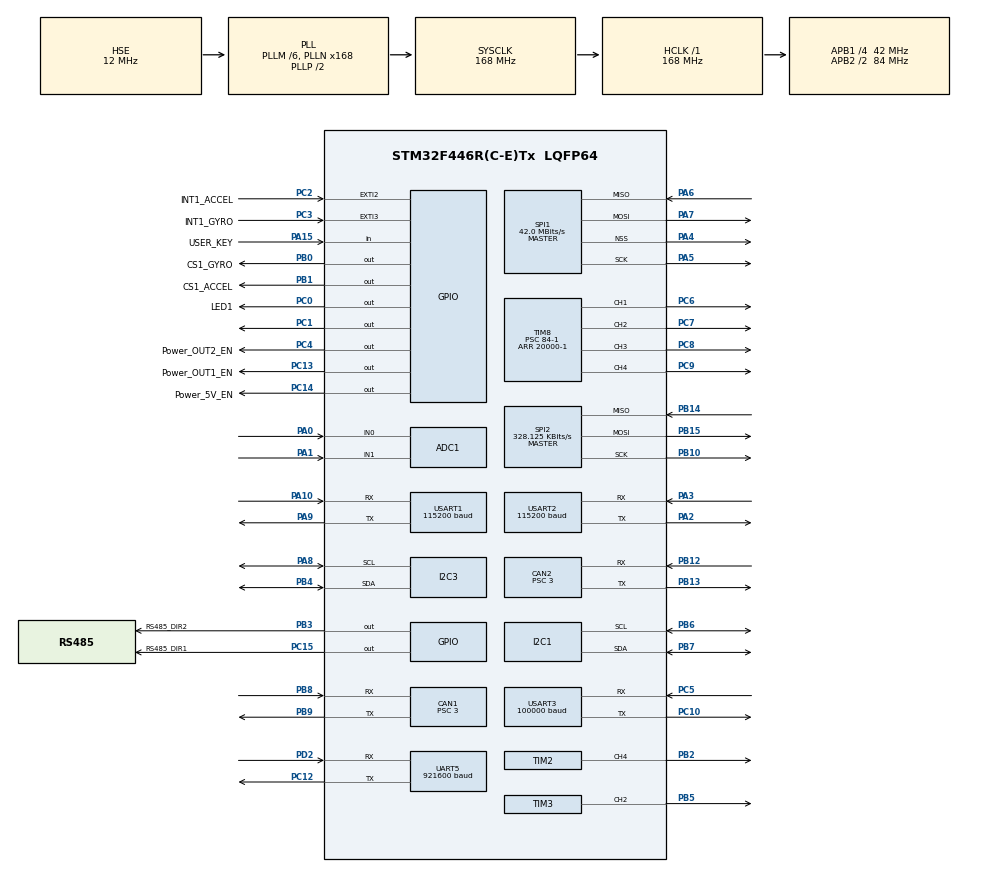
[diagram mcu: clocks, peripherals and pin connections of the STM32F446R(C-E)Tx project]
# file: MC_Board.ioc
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ADC1.Channel-0\#ChannelRegularConversion=ADC_CHANNEL_0
ADC1.NbrOfConversionFlag=1
ADC1.Rank-0\#ChannelRegularConversion=1
ADC1.SamplingTime-0\#ChannelRegularConversion=ADC_SAMPLETIME_3CYCLES
ADC1.master=1
CAN1.ABOM=ENABLE
CAN1.BS1=CAN_BS1_10TQ
CAN1.BS2=CAN_BS2_3TQ
CAN1.CalculateBaudRate=1000000
CAN1.CalculateTimeBit=1000
CAN1.CalculateTimeQuantum=71.42857142857143
CAN1.NART=ENABLE
CAN1.Prescaler=3
CAN1.SJW=CAN_SJW_1TQ
CAN2.BS1=CAN_BS1_10TQ
CAN2.BS2=CAN_BS2_3TQ
CAN2.CalculateBaudRate=1000000
CAN2.CalculateTimeBit=1000
CAN2.CalculateTimeQuantum=71.42857142857143
CAN2.Prescaler=3
CAN2.SJW=CAN_SJW_2TQ
Dma.Request0=USART2_TX
Dma.Request1=USART2_RX
Dma.Request2=SPI2_RX
Dma.Request3=SPI2_TX
Dma.SPI2_RX.2.Direction=DMA_PERIPH_TO_MEMORY
Dma.SPI2_RX.2.FIFOMode=DMA_FIFOMODE_DISABLE
Dma.SPI2_RX.2.Instance=DMA1_Stream3
Dma.SPI2_RX.2.MemDataAlignment=DMA_MDATAALIGN_BYTE
Dma.SPI2_RX.2.MemInc=DMA_MINC_ENABLE
Dma.SPI2_RX.2.Mode=DMA_NORMAL
Dma.SPI2_RX.2.PeriphDataAlignment=DMA_PDATAALIGN_BYTE
Dma.SPI2_RX.2.PeriphInc=DMA_PINC_DISABLE
Dma.SPI2_RX.2.Priority=DMA_PRIORITY_VERY_HIGH
Dma.SPI2_TX.3.Direction=DMA_MEMORY_TO_PERIPH
Dma.SPI2_TX.3.FIFOMode=DMA_FIFOMODE_DISABLE
Dma.SPI2_TX.3.Instance=DMA1_Stream4
Dma.SPI2_TX.3.MemDataAlignment=DMA_MDATAALIGN_BYTE
Dma.SPI2_TX.3.MemInc=DMA_MINC_ENABLE
Dma.SPI2_TX.3.Mode=DMA_NORMAL
Dma.SPI2_TX.3.PeriphDataAlignment=DMA_PDATAALIGN_BYTE
Dma.SPI2_TX.3.PeriphInc=DMA_PINC_DISABLE
Dma.SPI2_TX.3.Priority=DMA_PRIORITY_HIGH
Dma.USART2_RX.1.Direction=DMA_PERIPH_TO_MEMORY
Dma.USART2_RX.1.FIFOMode=DMA_FIFOMODE_DISABLE
Dma.USART2_RX.1.Instance=DMA1_Stream5
Dma.USART2_RX.1.MemDataAlignment=DMA_MDATAALIGN_BYTE
Dma.USART2_RX.1.MemInc=DMA_MINC_ENABLE
Dma.USART2_RX.1.Mode=DMA_NORMAL
Dma.USART2_RX.1.PeriphDataAlignment=DMA_PDATAALIGN_BYTE
Dma.USART2_RX.1.PeriphInc=DMA_PINC_DISABLE
Dma.USART2_RX.1.Priority=DMA_PRIORITY_MEDIUM
Dma.USART2_TX.0.Direction=DMA_MEMORY_TO_PERIPH
Dma.USART2_TX.0.FIFOMode=DMA_FIFOMODE_DISABLE
Dma.USART2_TX.0.Instance=DMA1_Stream6
Dma.USART2_TX.0.MemDataAlignment=DMA_MDATAALIGN_BYTE
Dma.USART2_TX.0.MemInc=DMA_MINC_ENABLE
Dma.USART2_TX.0.Mode=DMA_NORMAL
Dma.USART2_TX.0.PeriphDataAlignment=DMA_PDATAALIGN_BYTE
Dma.USART2_TX.0.PeriphInc=DMA_PINC_DISABLE
Dma.USART2_TX.0.Priority=DMA_PRIORITY_MEDIUM
FREERTOS.Tasks01=defaultTask,0,3000,StartDefaultTask,Default,NULL,Dynamic,NULL,NULL
FREERTOS.configLIBRARY_MAX_SYSCALL_INTERRUPT_PRIORITY=5
FREERTOS.configTOTAL_HEAP_SIZE=46080
Mcu.Family=STM32F4
Mcu.Name=STM32F446R(C-E)Tx
Mcu.Package=LQFP64
NVIC.CAN1_RX0_IRQn=true\:3\:0\:true\:false\:true\:false\:true\:true\:true
NVIC.CAN1_TX_IRQn=true\:4\:0\:true\:false\:true\:false\:true\:true\:true
NVIC.CAN2_RX0_IRQn=true\:3\:0\:true\:false\:true\:false\:true\:true\:true
NVIC.CAN2_TX_IRQn=true\:4\:0\:true\:false\:true\:false\:true\:true\:true
NVIC.DMA1_Stream3_IRQn=true\:5\:0\:false\:false\:false\:true\:false\:true\:true
NVIC.DMA1_Stream4_IRQn=true\:5\:0\:false\:false\:true\:true\:false\:true\:true
NVIC.DMA1_Stream5_IRQn=true\:5\:0\:false\:false\:true\:true\:false\:true\:true
NVIC.DMA1_Stream6_IRQn=true\:5\:0\:false\:false\:true\:true\:false\:true\:true
NVIC.EXTI2_IRQn=true\:5\:0\:true\:false\:true\:false\:true\:true\:true
NVIC.EXTI3_IRQn=true\:5\:0\:true\:false\:true\:false\:true\:true\:true
NVIC.PriorityGroup=NVIC_PRIORITYGROUP_4
NVIC.TIM1_BRK_TIM9_IRQn=true\:15\:0\:false\:false\:true\:false\:false\:true\:true
NVIC.TIM7_IRQn=true\:10\:0\:true\:false\:true\:false\:true\:true\:true
NVIC.TIM8_TRG_COM_TIM14_IRQn=true\:5\:0\:false\:false\:true\:false\:false\:true\:true
NVIC.TimeBase=TIM1_BRK_TIM9_IRQn
NVIC.TimeBaseIP=TIM9
NVIC.UART5_IRQn=true\:5\:0\:true\:false\:true\:false\:true\:true\:true
NVIC.USART1_IRQn=true\:4\:0\:true\:false\:true\:false\:true\:true\:true
NVIC.USART2_IRQn=true\:4\:0\:true\:false\:true\:false\:true\:true\:true
NVIC.USART3_IRQn=true\:4\:0\:true\:false\:true\:false\:true\:true\:true
PA0-WKUP.GPIO_Mode=GPIO_MODE_ANALOG
PA0-WKUP.GPIO_PuPd=GPIO_NOPULL
PA0-WKUP.Signal=ADCx_IN0
PA1.GPIO_Mode=GPIO_MODE_ANALOG
PA1.GPIO_PuPd=GPIO_NOPULL
PA1.Signal=ADCx_IN1
PA10.Mode=Asynchronous
PA10.Signal=USART1_RX
PA13.Mode=Serial_Wire
PA13.Signal=SYS_JTMS-SWDIO
PA14.Mode=Serial_Wire
PA14.Signal=SYS_JTCK-SWCLK
PA15.GPIO_Label=USER_KEY
PA15.Signal=GPIO_Input
PA2.Mode=Asynchronous
PA2.Signal=USART2_TX
PA3.Mode=Asynchronous
PA3.Signal=USART2_RX
PA4.Mode=NSS_Signal_Hard_Output
PA4.Signal=SPI1_NSS
PA5.Mode=Full_Duplex_Master
PA5.Signal=SPI1_SCK
PA6.Mode=Full_Duplex_Master
PA6.Signal=SPI1_MISO
PA7.Mode=Full_Duplex_Master
PA7.Signal=SPI1_MOSI
PA8.GPIO_Pu=GPIO_PULLUP
PA8.Mode=I2C
PA8.Signal=I2C3_SCL
PA9.Mode=Asynchronous
PA9.Signal=USART1_TX
PB0.GPIO_Label=CS1_GYRO
PB0.GPIO_PuPd=GPIO_PULLUP
PB0.GPIO_Speed=GPIO_SPEED_FREQ_HIGH
PB0.Signal=GPIO_Output
PB1.GPIO_Label=CS1_ACCEL
PB1.GPIO_PuPd=GPIO_PULLUP
PB1.GPIO_Speed=GPIO_SPEED_FREQ_HIGH
PB1.Signal=GPIO_Output
PB10.Mode=Full_Duplex_Master
PB10.Signal=SPI2_SCK
PB12.Mode=CAN_Activate
PB12.Signal=CAN2_RX
PB13.Mode=CAN_Activate
PB13.Signal=CAN2_TX
PB14.Mode=Full_Duplex_Master
PB14.Signal=SPI2_MISO
PB15.Mode=Full_Duplex_Master
PB15.Signal=SPI2_MOSI
PB2.GPIO_ModeDefaultPP=GPIO_MODE_AF_PP
PB2.GPIO_PuPd=GPIO_NOPULL
PB2.GPIO_Speed=GPIO_SPEED_FREQ_LOW
PB2.Signal=S_TIM2_CH4
PB3.GPIO_Label=RS485_DIR2
PB3.GPIO_ModeDefaultOutputPP=GPIO_MODE_OUTPUT_PP
PB3.GPIO_PuPd=GPIO_NOPULL
PB3.GPIO_Speed=GPIO_SPEED_FREQ_LOW
PB3.PinState=GPIO_PIN_RESET
PB3.Signal=GPIO_Output
PB4.GPIO_Pu=GPIO_PULLUP
PB4.Mode=I2C
PB4.Signal=I2C3_SDA
PB5.GPIO_PuPd=GPIO_PULLDOWN
PB5.Signal=S_TIM3_CH2
PB6.GPIO_Pu=GPIO_PULLUP
PB6.Mode=I2C
PB6.Signal=I2C1_SCL
PB7.GPIO_Pu=GPIO_PULLUP
PB7.Mode=I2C
PB7.Signal=I2C1_SDA
PB8.Mode=CAN_Activate
PB8.Signal=CAN1_RX
PB9.Mode=CAN_Activate
PB9.Signal=CAN1_TX
PC0.GPIO_Label=LED1
PC0.GPIO_ModeDefaultOutputPP=GPIO_MODE_OUTPUT_PP
PC0.GPIO_PuPd=GPIO_NOPULL
PC0.GPIO_Speed=GPIO_SPEED_FREQ_LOW
PC0.PinState=GPIO_PIN_RESET
PC0.Signal=GPIO_Output
PC1.Signal=GPIO_Output
PC10.Mode=Asynchronous
PC10.Signal=USART3_TX
PC12.Mode=Asynchronous
PC12.Signal=UART5_TX
PC13.GPIO_Label=Power_OUT1_EN
PC13.GPIO_ModeDefaultOutputPP=GPIO_MODE_OUTPUT_PP
PC13.GPIO_PuPd=GPIO_NOPULL
PC13.GPIO_Speed=GPIO_SPEED_FREQ_LOW
PC13.PinState=GPIO_PIN_RESET
PC13.Signal=GPIO_Output
PC14-OSC32_IN.GPIO_Label=Power_5V_EN
PC14-OSC32_IN.GPIO_ModeDefaultOutputPP=GPIO_MODE_OUTPUT_PP
PC14-OSC32_IN.GPIO_PuPd=GPIO_NOPULL
PC14-OSC32_IN.GPIO_Speed=GPIO_SPEED_FREQ_LOW
PC14-OSC32_IN.PinState=GPIO_PIN_RESET
PC14-OSC32_IN.Signal=GPIO_Output
PC15-OSC32_OUT.GPIO_Label=RS485_DIR1
PC15-OSC32_OUT.GPIO_ModeDefaultOutputPP=GPIO_MODE_OUTPUT_PP
PC15-OSC32_OUT.GPIO_PuPd=GPIO_NOPULL
PC15-OSC32_OUT.GPIO_Speed=GPIO_SPEED_FREQ_LOW
PC15-OSC32_OUT.PinState=GPIO_PIN_RESET
PC15-OSC32_OUT.Signal=GPIO_Output
PC2.GPIO_Label=INT1_ACCEL
PC2.Signal=GPXTI2
PC3.GPIO_Label=INT1_GYRO
PC3.Signal=GPXTI3
PC4.GPIO_Label=Power_OUT2_EN
PC4.Signal=GPIO_Output
PC5.GPIO_PuPd=GPIO_NOPULL
PC5.Mode=Asynchronous
PC5.Signal=USART3_RX
PC6.Signal=S_TIM8_CH1
PC7.Signal=S_TIM8_CH2
PC8.Signal=S_TIM8_CH3
PC9.Signal=S_TIM8_CH4
PD2.Mode=Asynchronous
PD2.Signal=UART5_RX
PH0-OSC_IN.Mode=HSE-External-Oscillator
PH0-OSC_IN.Signal=RCC_OSC_IN
PH1-OSC_OUT.Mode=HSE-External-Oscillator
PH1-OSC_OUT.Signal=RCC_OSC_OUT
ProjectManager.HeapSize=0x3000
ProjectManager.StackSize=0x5000
ProjectManager.TargetToolchain=MDK-ARM V5.32
RCC.AHBFreq_Value=168000000
RCC.APB1CLKDivider=RCC_HCLK_DIV4
RCC.APB1Freq_Value=42000000
RCC.APB1TimFreq_Value=84000000
RCC.APB2CLKDivider=RCC_HCLK_DIV2
RCC.APB2Freq_Value=84000000
RCC.APB2TimFreq_Value=168000000
RCC.CortexFreq_Value=168000000
RCC.HCLKFreq_Value=168000000
RCC.HSE_VALUE=12000000
RCC.PLLM=6
RCC.PLLN=168
RCC.PLLQ=7
RCC.PLLSAIM=6
RCC.PLLSAIN=96
RCC.PLLSAIP=RCC_PLLSAIP_DIV4
RCC.PLLSourceVirtual=RCC_PLLSOURCE_HSE
RCC.SYSCLKFreq_VALUE=168000000
RCC.SYSCLKSource=RCC_SYSCLKSOURCE_PLLCLK
RCC.USBFreq_Value=48000000
RCC.VCOOutputFreq_Value=336000000
SH.ADCx_IN0.0=ADC1_IN0,IN0
SH.ADCx_IN1.0=ADC1_IN1,IN1
SH.S_TIM2_CH4.0=TIM2_CH4,PWM Generation4 CH4
SH.S_TIM3_CH2.0=TIM3_CH2,PWM Generation2 CH2
SH.S_TIM8_CH1.0=TIM8_CH1,PWM Generation1 CH1
SH.S_TIM8_CH2.0=TIM8_CH2,PWM Generation2 CH2
SH.S_TIM8_CH3.0=TIM8_CH3,PWM Generation3 CH3
SH.S_TIM8_CH4.0=TIM8_CH4,PWM Generation4 CH4
SPI1.BaudRatePrescaler=SPI_BAUDRATEPRESCALER_2
SPI1.CalculateBaudRate=42.0 MBits/s
SPI1.Direction=SPI_DIRECTION_2LINES
SPI1.Mode=SPI_MODE_MASTER
SPI1.VirtualNSS=VM_NSSHARD
SPI1.VirtualType=VM_MASTER
SPI2.BaudRatePrescaler=SPI_BAUDRATEPRESCALER_128
SPI2.CLKPhase=SPI_PHASE_2EDGE
SPI2.CLKPolarity=SPI_POLARITY_HIGH
SPI2.CalculateBaudRate=328.125 KBits/s
SPI2.Direction=SPI_DIRECTION_2LINES
SPI2.Mode=SPI_MODE_MASTER
SPI2.VirtualType=VM_MASTER
TIM2.AutoReloadPreload=TIM_AUTORELOAD_PRELOAD_ENABLE
TIM2.Channel-PWM\ Generation4\ CH4=TIM_CHANNEL_4
TIM2.Period=20000-1
TIM2.Prescaler=42 - 1
TIM3.Channel-PWM\ Generation2\ CH2=TIM_CHANNEL_2
TIM3.Period=4999
TIM7.Period=1000 - 1
TIM7.Prescaler=84 - 1
TIM8.Channel-PWM\ Generation1\ CH1=TIM_CHANNEL_1
TIM8.Channel-PWM\ Generation2\ CH2=TIM_CHANNEL_2
TIM8.Channel-PWM\ Generation3\ CH3=TIM_CHANNEL_3
TIM8.Channel-PWM\ Generation4\ CH4=TIM_CHANNEL_4
TIM8.Period=20000-1
TIM8.Prescaler=84-1
UART5.BaudRate=921600
UART5.VirtualMode=Asynchronous
USART1.BaudRate=115200
USART1.VirtualMode=VM_ASYNC
USART2.BaudRate=115200
USART2.VirtualMode=VM_ASYNC
USART3.BaudRate=100000
USART3.Mode=MODE_RX
USART3.Parity=PARITY_EVEN
USART3.StopBits=STOPBITS_2
USART3.VirtualMode=VM_ASYNC
USART3.WordLength=WORDLENGTH_9B
VP_FREERTOS_VS_CMSIS_V1.Mode=CMSIS_V1
VP_IWDG_VS_IWDG.Mode=IWDG_Activate
VP_SYS_VS_tim9.Mode=TIM9
VP_TIM2_VS_ClockSourceINT.Mode=Internal
VP_TIM7_VS_ClockSourceINT.Mode=Enable_Timer
board=custom

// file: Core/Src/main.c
/* USER CODE BEGIN Header */
/**
  ******************************************************************************
  * @file           : main.c
  * @brief          : Main program body
  ******************************************************************************
  * @attention
  *
  * Copyright (c) 2023 STMicroelectronics.
  * All rights reserved.
  *
  * This software is licensed under terms that can be found in the LICENSE file
  * in the root directory of this software component.
  * If no LICENSE file comes with this software, it is provided AS-IS.
  *
  ******************************************************************************
  */
/* USER CODE END Header */
#include "main.h"
#include "cmsis_os.h"
#include "adc.h"
#include "can.h"
#include "dma.h"
#include "i2c.h"
#include "iwdg.h"
#include "spi.h"
#include "tim.h"
#include "usart.h"
#include "gpio.h"

void SystemClock_Config(void);
void MX_FREERTOS_Init(void);
/* USER CODE BEGIN PFP */
void SystemClock_PreConfig(void);
void SystemClock_PostConfig(void);

void BSP_Setup();
void Setup();
void Loop();
/* USER CODE END PFP */

int main(void)
{

  /* USER CODE BEGIN 1 */
  static uint8_t firstEnter = 1;
  if(firstEnter) {
  /* USER CODE END 1 */

  /* MCU Configuration--------------------------------------------------------*/

  /* Reset of all peripherals, Initializes the Flash interface and the Systick. */
  HAL_Init();

  /* USER CODE BEGIN Init */
      SystemClock_PreConfig();
  /* USER CODE END Init */

  /* Configure the system clock */
  SystemClock_Config();

  /* USER CODE BEGIN SysInit */
      SystemClock_PostConfig();
  /* USER CODE END SysInit */

  /* Initialize all configured peripherals */
  MX_GPIO_Init();
  MX_DMA_Init();
  MX_CAN1_Init();
  MX_CAN2_Init();
  MX_SPI1_Init();
  MX_UART5_Init();
  MX_USART1_UART_Init();
  MX_ADC1_Init();
  MX_I2C1_Init();
  MX_TIM8_Init();
  MX_I2C3_Init();
  MX_SPI2_Init();
  MX_USART2_UART_Init();
  MX_TIM3_Init();
  MX_TIM2_Init();
  MX_TIM7_Init();
  MX_USART3_UART_Init();
  MX_IWDG_Init();
  /* USER CODE BEGIN 2 */
      HAL_GPIO_WritePin(GPIOC, Power_OUT1_EN_Pin|Power_5V_EN_Pin|RS485_DIR1_Pin|LED1_Pin
                               |GPIO_PIN_1|Power_OUT2_EN_Pin, GPIO_PIN_SET);

      firstEnter = 0;
       /* Start scheduler */

  } else {
      BSP_Setup();
      Setup();

      /* Call init function for freertos objects (in cmsis_os2.c) */
      MX_FREERTOS_Init();

      osKernelStart();
      /* We should never get here as control is now taken by the scheduler */

  /* USER CODE END 2 */

  /* Call init function for freertos objects (in cmsis_os2.c) */
  MX_FREERTOS_Init();

  /* Start scheduler */
  osKernelStart();

  /* We should never get here as control is now taken by the scheduler */

  /* Infinite loop */
      while (1) {

    /* USER CODE BEGIN 3 */
          Loop();
      }
  }
  /* USER CODE END 3 */
}

void SystemClock_Config(void)
{
  RCC_OscInitTypeDef RCC_OscInitStruct = {0};
  RCC_ClkInitTypeDef RCC_ClkInitStruct = {0};

  /** Configure the main internal regulator output voltage
  */
  __HAL_RCC_PWR_CLK_ENABLE();
  __HAL_PWR_VOLTAGESCALING_CONFIG(PWR_REGULATOR_VOLTAGE_SCALE1);

  /** Initializes the RCC Oscillators according to the specified parameters
  * in the RCC_OscInitTypeDef structure.
  */
  RCC_OscInitStruct.OscillatorType = RCC_OSCILLATORTYPE_LSI|RCC_OSCILLATORTYPE_HSE;
  RCC_OscInitStruct.HSEState = RCC_HSE_ON;
  RCC_OscInitStruct.LSIState = RCC_LSI_ON;
  RCC_OscInitStruct.PLL.PLLState = RCC_PLL_ON;
  RCC_OscInitStruct.PLL.PLLSource = RCC_PLLSOURCE_HSE;
  RCC_OscInitStruct.PLL.PLLM = 6;
  RCC_OscInitStruct.PLL.PLLN = 168;
  RCC_OscInitStruct.PLL.PLLP = RCC_PLLP_DIV2;
  RCC_OscInitStruct.PLL.PLLQ = 7;
  RCC_OscInitStruct.PLL.PLLR = 2;
  if (HAL_RCC_OscConfig(&RCC_OscInitStruct) != HAL_OK)
  {
    Error_Handler();
  }

  /** Initializes the CPU, AHB and APB buses clocks
  */
  RCC_ClkInitStruct.ClockType = RCC_CLOCKTYPE_HCLK|RCC_CLOCKTYPE_SYSCLK
                              |RCC_CLOCKTYPE_PCLK1|RCC_CLOCKTYPE_PCLK2;
  RCC_ClkInitStruct.SYSCLKSource = RCC_SYSCLKSOURCE_PLLCLK;
  RCC_ClkInitStruct.AHBCLKDivider = RCC_SYSCLK_DIV1;
  RCC_ClkInitStruct.APB1CLKDivider = RCC_HCLK_DIV4;
  RCC_ClkInitStruct.APB2CLKDivider = RCC_HCLK_DIV2;

  if (HAL_RCC_ClockConfig(&RCC_ClkInitStruct, FLASH_LATENCY_5) != HAL_OK)
  {
    Error_Handler();
  }
}

/* USER CODE BEGIN 4 */
/**
 * @brief 将时钟源选择为内部时钟，避免Clion的Debug模式无法使能锁相环
 */
void SystemClock_PreConfig(void) {
    RCC_ClkInitTypeDef RCC_ClkInitStruct = {0};
    RCC_ClkInitStruct.ClockType = RCC_CLOCKTYPE_SYSCLK;
    RCC_ClkInitStruct.SYSCLKSource = RCC_SYSCLKSOURCE_HSI;
    if (HAL_RCC_ClockConfig(&RCC_ClkInitStruct, FLASH_LATENCY_5) != HAL_OK) {
        Error_Handler();
    }
}

void SystemClock_PostConfig(void) {
    RCC_OscInitTypeDef RCC_OscInitStruct = {0};
    RCC_OscInitStruct.OscillatorType = RCC_OSCILLATORTYPE_HSI;
    RCC_OscInitStruct.HSIState = RCC_HSI_OFF;
    RCC_OscInitStruct.PLL.PLLState = RCC_PLL_NONE;
    if(HAL_RCC_OscConfig(&RCC_OscInitStruct) != HAL_OK) {
        Error_Handler();
    }
}

/* configSUPPORT_STATIC_ALLOCATION is set to 1, so the application must provide an
 * implementation of vApplicationGetIdleTaskMemory() to provide the memory that is
 * used by the Idle task. */
void vApplicationGetIdleTaskMemory( StaticTask_t **ppxIdleTaskTCBBuffer,
                                    StackType_t **ppxIdleTaskStackBuffer,
                                    uint32_t *pulIdleTaskStackSize )
{
    /* If the buffers to be provided to the Idle task are declared inside this
     * function then they must be declared static - otherwise they will be allocated on
     * the stack and so not exist after this function returns. */
    static StaticTask_t xIdleTaskTCB;
    static StackType_t uxIdleTaskStack[ configMINIMAL_STACK_SIZE ];

    *ppxIdleTaskTCBBuffer = &xIdleTaskTCB;
    *ppxIdleTaskStackBuffer = uxIdleTaskStack;
    *pulIdleTaskStackSize = configMINIMAL_STACK_SIZE;
}

/* configSUPPORT_STATIC_ALLOCATION and configUSE_TIMERS are both set to 1, so the
 * application must provide an implementation of vApplicationGetTimerTaskMemory()
 * to provide the memory that is used by the Timer service task. */
void vApplicationGetTimerTaskMemory( StaticTask_t **ppxTimerTaskTCBBuffer,
                                     StackType_t **ppxTimerTaskStackBuffer,
                                     uint32_t *pulTimerTaskStackSize )
{
    /* If the buffers to be provided to the Timer task are declared inside this
     * function then they must be declared static - otherwise they will be allocated on
     * the stack and so not exist after this function returns. */
    static StaticTask_t xTimerTaskTCB;
    static StackType_t uxTimerTaskStack[ configTIMER_TASK_STACK_DEPTH ];

    *ppxTimerTaskTCBBuffer = &xTimerTaskTCB;
    *ppxTimerTaskStackBuffer = uxTimerTaskStack;
    *pulTimerTaskStackSize = configTIMER_TASK_STACK_DEPTH;
}
/* USER CODE END 4 */

// void HAL_TIM_PeriodElapsedCallback(TIM_HandleTypeDef *htim)
// {
//   /* USER CODE BEGIN Callback 0 */
// // //
//   /* USER CODE END Callback 0 */
//   if (htim->Instance == TIM9)
//   {
//     HAL_IncTick();
//   }
//   /* USER CODE BEGIN Callback 1 */
// // //
//   /* USER CODE END Callback 1 */
// }

void Error_Handler(void)
{
  __disable_irq();
  while (1)
  {
  }
}

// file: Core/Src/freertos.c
/* USER CODE BEGIN Header */
/**
  ******************************************************************************
  * File Name          : freertos.c
  * Description        : Code for freertos applications
  ******************************************************************************
  * @attention
  *
  * Copyright (c) 2025 STMicroelectronics.
  * All rights reserved.
  *
  * This software is licensed under terms that can be found in the LICENSE file
  * in the root directory of this software component.
  * If no LICENSE file comes with this software, it is provided AS-IS.
  *
  ******************************************************************************
  */
/* USER CODE END Header */

#include "FreeRTOS.h"
#include "task.h"
#include "main.h"
#include "cmsis_os.h"

/* USER CODE BEGIN Includes */
#include "usart.h"
#include <rcl/rcl.h>
#include <rcl/error_handling.h>
#include <rclc/rclc.h>
#include <rclc/executor.h> // 建议使用执行器，代码更健壮
#include <uxr/client/transport.h>
#include <rmw_microxrcedds_c/config.h>
#include <rmw_microros/rmw_microros.h>
#include <std_msgs/msg/int32.h>
#include <stdbool.h>
#include <stdio.h> // 用于 printf
#include <string.h> // 用于 memset

#include "allocators.h" // 包含我们自定义的分配器声明
#include "microros_transports.h" // 包含我们自定义的传输层函数声明
/* USER CODE END Includes */

/* USER CODE BEGIN PD */

// 定义 micro-ROS 任务的堆栈大小，可以根据需要调整
#define MICROROS_APP_STACK_SIZE (3000 * 4)

/* USER CODE END PD */

/* USER CODE BEGIN Variables */
osThreadId microROS_app_Handle; // 为新的micro-ROS应用任务创建一个句柄
/* USER CODE END Variables */
osThreadId defaultTaskHandle;

  /* Private function prototypes -----------------------------------------------*/
/* USER CODE BEGIN FunctionPrototypes */
// 新增一个函数原型，用于micro-ROS的应用任务
void appMain(void const * argument);
/* USER CODE END FunctionPrototypes */

void StartDefaultTask(void const * argument);

void MX_FREERTOS_Init(void); /* (MISRA C 2004 rule 8.1) */

/* GetIdleTaskMemory prototype (linked to static allocation support) */
// void vApplicationGetIdleTaskMemory( StaticTask_t **ppxIdleTaskTCBBuffer, StackType_t **ppxIdleTaskStackBuffer, uint32_t *pulIdleTaskStackSize );
//
// /* USER CODE BEGIN GET_IDLE_TASK_MEMORY */
// static StaticTask_t xIdleTaskTCBBuffer;
// static StackType_t xIdleStack[configMINIMAL_STACK_SIZE];
//
// void vApplicationGetIdleTaskMemory( StaticTask_t **ppxIdleTaskTCBBuffer, StackType_t **ppxIdleTaskStackBuffer, uint32_t *pulIdleTaskStackSize )
// {
//   *ppxIdleTaskTCBBuffer = &xIdleTaskTCBBuffer;
//   *ppxIdleTaskStackBuffer = &xIdleStack[0];
//   *pulIdleTaskStackSize = configMINIMAL_STACK_SIZE;
//   /* place for user code */
// }
/* USER CODE END GET_IDLE_TASK_MEMORY */

void MX_FREERTOS_Init(void) {

  /* Create the thread(s) */
  /* definition and creation of defaultTask */
  osThreadDef(defaultTask, StartDefaultTask, osPriorityNormal, 0, 1000);
  defaultTaskHandle = osThreadCreate(osThread(defaultTask), NULL);

  /* USER CODE BEGIN RTOS_THREADS */
  /* add threads, ... */
  // 定义并创建micro-ROS应用任务，它将负责实际的ROS节点和发布逻辑
  // 为micro-ROS分配一个较大的栈空间（例如5000字节），防止栈溢出
  osThreadDef(microROS_app, appMain, osPriorityNormal, 0, 2500);
  microROS_app_Handle = osThreadCreate(osThread(microROS_app), NULL);
  /* USER CODE END RTOS_THREADS */

}

void StartDefaultTask(void const *argument)
{
    /* USER CODE BEGIN StartDefaultTask */
    /* Infinite loop */
  /* USER CODE BEGIN StartDefaultTask */
  // 1. 设置micro-ROS自定义传输层
  //    这里使用了我们自己实现的基于FreeRTOS和HAL库的串口DMA传输函数。
  //    注意：函数名已更正为 `freertos_serial_...` 系列。
  //    通信串口句柄已修改为 `&huart5`，用于和Linux通信。
  rmw_uros_set_custom_transport(
    true,
    (void *) &huart5, // 使用 UART5
    freertos_serial_open,
    freertos_serial_close,
    freertos_serial_write,
    freertos_serial_read);

  // 2. 设置micro-ROS自定义内存分配器
  //    这里将micro-ROS的内存申请指向我们基于FreeRTOS heap_4实现的函数。
  //    注意：函数名已更正为 `__freertos_...` 系列。
  rcl_allocator_t freeRTOS_allocator = rcutils_get_zero_initialized_allocator();
  freeRTOS_allocator.allocate = __freertos_allocate;
  freeRTOS_allocator.deallocate = __freertos_deallocate;
  freeRTOS_allocator.reallocate = __freertos_reallocate;
  freeRTOS_allocator.zero_allocate =  __freertos_zero_allocate;

  // 3. 将我们自定义的分配器设置为rclc的默认分配器
  if (!rcutils_set_default_allocator(&freeRTOS_allocator)) {
    // printf("Error on default allocators (line %d)\n", __LINE__);
    // 在单片机中，如果出现严重错误，可以在这里进入死循环或重启
    while(1);
  }

  // 初始化任务完成，进入无限循环，可以用于系统监控或保持任务存活
  for(;;)
  {
    osDelay(1000);
  }
  /* USER CODE END StartDefaultTask */
}

/**
  * @brief  这个函数是专门为micro-ROS应用创建的新任务。
  *         它包含了所有与ROS节点、发布者、订阅者相关的逻辑。
  * @param  argument: Not used
  * @retval None
  */
void appMain(void const * argument)
{
  // 等待 `StartDefaultTask` 完成初始化
  osDelay(2000);

  rcl_publisher_t publisher;
  std_msgs__msg__Int32 msg;
  rclc_support_t support;
  rcl_allocator_t allocator;
  rcl_node_t node;

  // 获取之前设置好的默认内存分配器
  allocator = rcl_get_default_allocator();

  // 创建初始化选项
  rclc_support_init(&support, 0, NULL, &allocator);

  // 创建节点
  rclc_node_init_default(&node, "cubemx_node", "", &support);

  // 创建发布者
  rclc_publisher_init_default(
    &publisher,
    &node,
    ROSIDL_GET_MSG_TYPE_SUPPORT(std_msgs, msg, Int32),
    "cubemx_publisher");

  msg.data = 0;

  // 应用主循环
  for(;;)
  {
    rcl_ret_t ret = rcl_publish(&publisher, &msg, NULL);
    if (ret != RCL_RET_OK)
    {
      // printf("Error publishing (line %d)\n", __LINE__);
      // 发布失败可以在这里处理，例如尝试重新连接
    }

    msg.data++;
    // 发布频率不宜过快，以免饱和，设置为100ms一次
    osDelay(100);
  }
}
